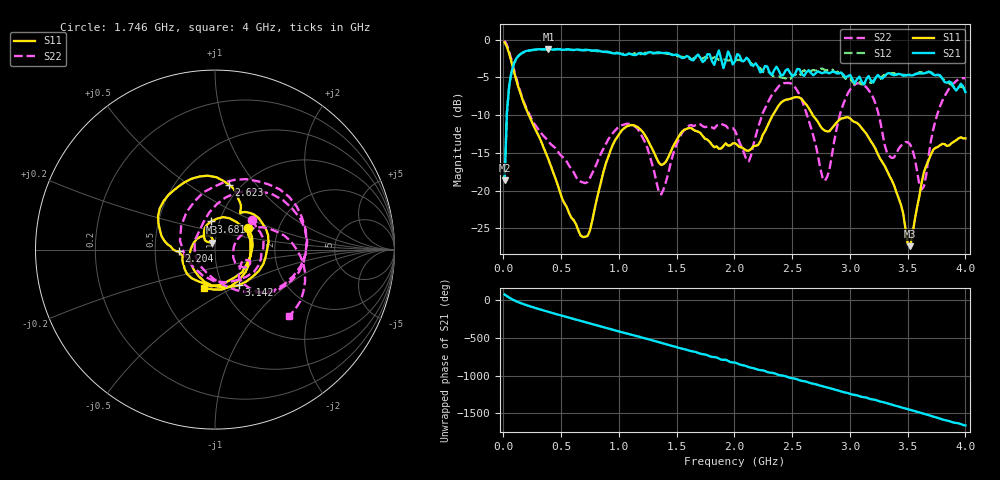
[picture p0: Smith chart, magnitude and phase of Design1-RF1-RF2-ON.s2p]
! 9/28/2016 1:02:55 PM
! C:\USERS\ANRITSUUSER\DESKTOP\SWITCHES\DESIGN1-RF1-RF2-ON.S2P
! CHANNEL.1
! TR.MEASUREMENT
! CORRECTED.DATA
# GHZ S RI R 50.0
! FREQ.GHZ  S11RE  S11IM  S21RE  S21IM  S12RE  S12IM  S22RE  S22IM
!; PortSelection: Port_12
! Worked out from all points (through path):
!   201 points, 10 MHz to 4 GHz, reference 50 ohm
!   highest |S21| = -1.23 dB at 389.1 MHz (marker M1); lowest = -18.6 dB at 10 MHz (marker M2)
!   group delay of S21, straight-line fit = 1.16 ns
!   lowest |S11| = -27.3 dB at 3.521 GHz (marker M3), VSWR 1.09, Z = 48 + j3.73 ohm
!   |S11| at or under -10 dB: 220.5 MHz to 2.332 GHz (2.112 GHz wide, 165 % of centre); 2.679 GHz to end of sweep
!   |S22| runs from -20.5 to -0.1 dB; largest |S21 - S12| = 0.12
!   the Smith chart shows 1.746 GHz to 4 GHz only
!   S11 on the Smith chart (normalised r, x): 1.746 GHz: 1.40, +0.36; 2.204 GHz: 0.67, -0.01; 2.623 GHz: 0.88, +0.74; 3.142 GHz: 1.19, -0.50; 3.681 GHz: 0.91, +0.29; 4 GHz: 0.81, -0.37
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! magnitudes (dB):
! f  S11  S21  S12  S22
! 10 MHz  -0.3  -18.6  -18.6  -0.1
! 29.95 MHz  -0.9  -9.6  -9.7  -0.7
! 89.8 MHz  -4.2  -3.2  -3.2  -3.9
! 389.1 MHz  -15.8  -1.2  -1.3  -13.5
! 688.3 MHz  -26.1  -1.4  -1.4  -18.9
! 1.027 GHz  -12.0  -1.9  -1.9  -11.3
! 1.347 GHz  -16.3  -1.7  -1.8  -20.2
! 1.746 GHz  -13.1  -2.7  -2.3  -11.6
! 2.005 GHz  -13.7  -2.9  -2.7  -12.0
! 2.125 GHz  -14.7  -2.7  -2.8  -16.1
! 2.204 GHz  -14.0  -3.6  -3.6  -11.6
! 2.424 GHz  -8.1  -4.6  -5.1  -5.8
! 2.623 GHz  -8.6  -4.3  -4.3  -9.7
! 2.683 GHz  -10.1  -4.7  -4.0  -12.8
! 2.783 GHz  -12.0  -4.3  -4.0  -18.7
! 2.963 GHz  -10.3  -5.0  -5.2  -7.8
! 3.142 GHz  -12.4  -5.2  -5.6  -6.3
! 3.342 GHz  -18.0  -4.4  -4.7  -15.4
! 3.521 GHz  -27.3  -4.7  -4.6  -13.9
! 3.621 GHz  -19.0  -4.5  -4.3  -19.8
! 3.681 GHz  -16.0  -4.3  -4.2  -15.5
! 4 GHz  -13.1  -6.9  -6.5  -5.1
